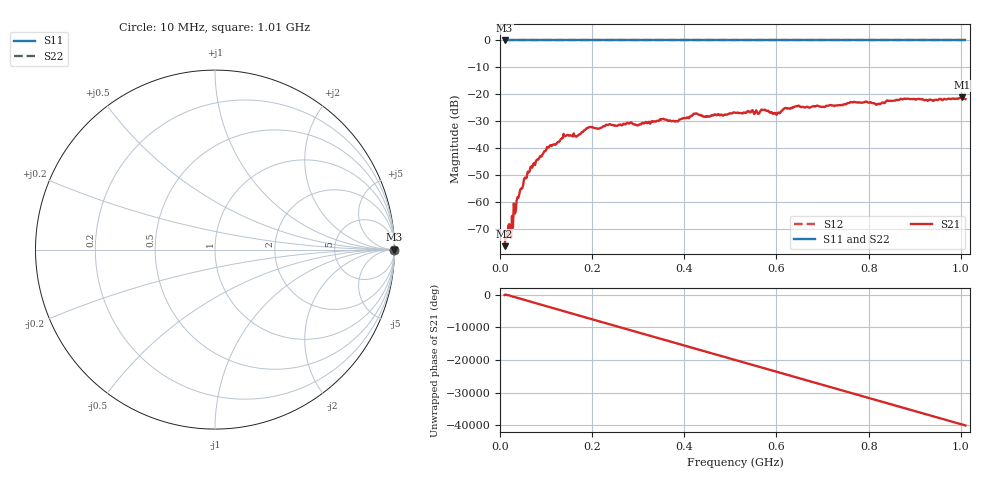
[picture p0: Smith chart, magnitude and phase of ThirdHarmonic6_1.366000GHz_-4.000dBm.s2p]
! 8/16/2025 3:26:48 PM
! C:\ANRITSUVNA\TEMP\TEMP.S2P
! CHANNEL.1
! TR.MEASUREMENT
! RAW.DATA
! RF.CORRECTION.OFF
! AVERAGING.OFF
! IF.BANDWIDTH: 5KHZ
! SWEEPTYPE:  FREQ.SWEEP(Linear)
! Reference Plane Port Info
! PORT:  PORT1  PORT2
! DISTANCE:  0  m  0  m
! TIME:  0  s  0  s
! PHASE.OFFSET:  0  deg.  0  deg.
! LOSS:  0  dB  0  dB
! REF.LOSS:  0  dB  0  dB
! REF.FREQ:  0  Hz  0  Hz
! Power Info
! POWER:  -20  dBm  -20  dBm
! EFF.POWER:  -20  dBm  -20  dBm
! SOURCE.ATTEN:  0  dB  0  dB
! TEST.ATTEN:  0  dB  0  dB
# GHZ S RI R 50.0
! FREQ.GHZ  S11RE  S11IM  S21RE  S21IM  S12RE  S12IM  S22RE  S22IM
!; PortSelection: Port_12
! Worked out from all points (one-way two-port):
!   501 points, 10 MHz to 1.01 GHz, reference 50 ohm
!   highest |S21| = -21.18 dB at 1.002 GHz (marker M1); lowest = -76.5 dB at 10 MHz (marker M2)
!   lowest |S11| = 0.0 dB at 10 MHz (marker M3)
!   |S11| at or under -10 dB: nowhere
!   |S22| runs from 0.0 to 0.0 dB; largest |S21 - S12| = 1.1
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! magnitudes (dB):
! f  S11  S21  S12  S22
! 10 MHz  0.0  -76.5  0.0  0.0
! 16 MHz  0.0  -72.9  0.0  0.0
! 24 MHz  0.0  -73.4  0.0  0.0
! 40 MHz  0.0  -58.4  0.0  0.0
! 56 MHz  0.0  -51.3  0.0  0.0
! 70 MHz  0.0  -47.3  0.0  0.0
! 106 MHz  0.0  -39.6  0.0  0.0
! 142 MHz  0.0  -35.5  0.0  0.0
! 178 MHz  0.0  -34.0  0.0  0.0
! 196 MHz  0.0  -32.2  0.0  0.0
! 344 MHz  0.0  -29.9  0.0  0.0
! 382 MHz  0.0  -29.9  0.0  0.0
! 424 MHz  0.0  -27.2  0.0  0.0
! 446 MHz  0.0  -28.4  0.0  0.0
! 510 MHz  0.0  -26.8  0.0  0.0
! 572 MHz  0.0  -25.8  0.0  0.0
! 596 MHz  0.0  -26.9  0.0  0.0
! 644 MHz  0.0  -24.4  0.0  0.0
! 678 MHz  0.0  -24.5  0.0  0.0
! 844 MHz  0.0  -22.5  0.0  0.0
! 1.002 GHz  0.0  -21.2  0.0  0.0
! 1.01 GHz  0.0  -21.8  0.0  0.0
